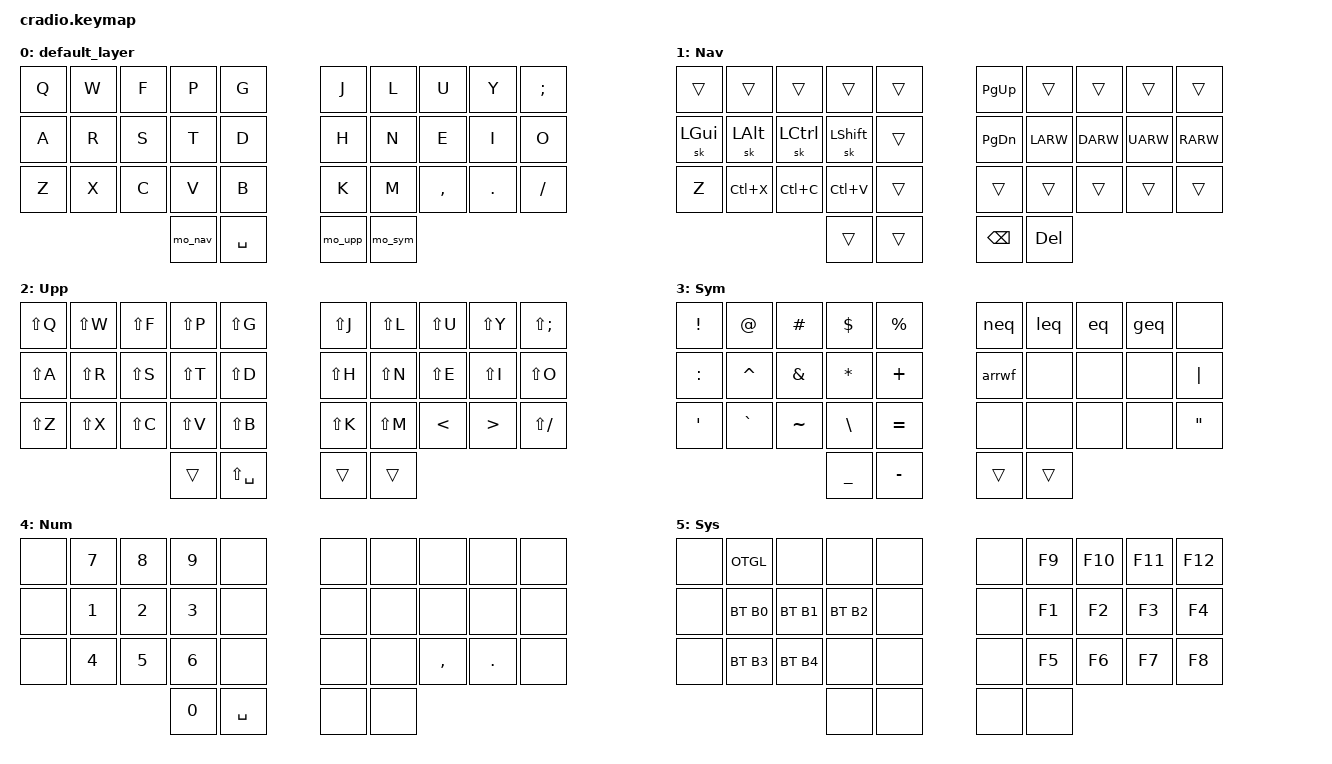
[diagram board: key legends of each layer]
/*
 * Copyright (c) 2020 The ZMK Contributors
 *
 * SPDX-License-Identifier: MIT
 */

#include <behaviors.dtsi>
#include <dt-bindings/zmk/bt.h>
#include <dt-bindings/zmk/ext_power.h>
#include <dt-bindings/zmk/keys.h>
#include <dt-bindings/zmk/outputs.h>

#define DEF_L 0
#define NAV_L 1
#define UPP_L 2
#define SYM_L 3
#define NUM_L 4
#define SYS_L 5

#define B0     BT_SEL 0
#define B1     BT_SEL 1
#define B2     BT_SEL 2
#define B3     BT_SEL 3
#define B4     BT_SEL 4
#define OTGL   out OUT_TOG

&caps_word {
  continue-list = <UNDERSCORE MINUS BACKSPACE>;
};

&sk {
  release-after-ms = <60000>;
};

/ {
    ZMK_MACRO(mo_nav,
        wait-ms = <0>;
        tap-ms = <0>;
        bindings
        = <&macro_tap &kp K_CANCEL>
        , <&macro_press &mo NAV_L>
        , <&macro_pause_for_release>
        , <&macro_release &mo NAV_L>;)

    ZMK_MACRO(mo_upp,
        wait-ms = <0>;
        tap-ms = <0>;
        bindings
        = <&macro_tap &kp K_CANCEL>
        , <&macro_press &mo UPP_L>
        , <&macro_pause_for_release>
        , <&macro_release &mo UPP_L>;)

    ZMK_MACRO(mo_sym,
        wait-ms = <0>;
        tap-ms = <0>;
        bindings
        = <&macro_tap &kp K_CANCEL>
        , <&macro_press &mo SYM_L>
        , <&macro_pause_for_release>
        , <&macro_release &mo SYM_L>;)

    ZMK_MACRO(mo_sys,
        wait-ms = <0>;
        tap-ms = <0>;
        bindings
        = <&macro_tap &kp K_CANCEL>
        , <&macro_press &mo SYS_L>
        , <&macro_pause_for_release>
        , <&macro_release &mo SYS_L>;)

    ZMK_MACRO(leq,
        wait-ms = <30>;
        tap-ms = <40>;
        bindings = <&kp LT &kp EQUAL>;)

    ZMK_MACRO(eq,
        wait-ms = <30>;
        tap-ms = <40>;
        bindings = <&kp EQUAL &kp EQUAL>;)

    ZMK_MACRO(geq,
        wait-ms = <30>;
        tap-ms = <40>;
        bindings = <&kp GT &kp EQUAL>;)

    ZMK_MACRO(neq,
        wait-ms = <30>;
        tap-ms = <40>;
        bindings = <&kp EXCL &kp EQUAL>;)

    ZMK_MACRO(arrwf,
        wait-ms = <30>;
        tap-ms = <40>;
        bindings = <&kp EQUAL &kp GT>;)

    ZMK_MACRO(wclip,
        wait-ms = <30>;
        tap-ms = <40>;
        bindings 
        = <&macro_press &kp LGUI>
        , <&macro_press &kp LSHFT>
        , <&macro_press &kp N4>
        , <&macro_release &kp LGUI &kp LSHFT &kp N4>;)
 
    combos {
        compatible = "zmk,combos";

        #define COMBO(NAME, BINDINGS, KEYPOS, LAYERS) \
          combo_##NAME { \
            bindings = <BINDINGS>; \
            key-positions = <KEYPOS>; \
            layers = <LAYERS>; \
          };
        /*                KEY POSITIONS

          ╭────────────────────╮ ╭────────────────────╮
          │  0   1   2   3 	 4 | |  5   6   7   8	9 │
          │ 10  11  12  13  14 │ │ 15  16  17  18  19 │
          │ 20  21  22  23  24 │ │ 25  26  27  28  29 │
          ╰───────────╮ 30  31 │ │ 32  33 ╭───────────╯
                      ╰────────╯ ╰────────╯            */
        // Letters
        COMBO(lower_q, &kp Q, 1 2, DEF_L)
        COMBO(upper_q, &kp LS(Q), 1 2, UPP_L)

        COMBO(excl, &kp EXCL, 1 2, SYM_L)
        
        COMBO(lower_semi, &kp SEMI, 7 8, DEF_L)
        COMBO(upper_semi, &kp LS(SEMI), 7 8, UPP_L)
        
        COMBO(f_twelve, &kp F12, 7 8, SYS_L)
        
        // Brackets
        COMBO(left_bracket, &kp LBKT, 1 11, DEF_L UPP_L SYM_L NUM_L)
        COMBO(right_bracket, &kp RBKT, 8 18, DEF_L UPP_L SYM_L NUM_L)

        COMBO(left_parenthesis, &kp LPAR, 2 12, DEF_L UPP_L SYM_L NUM_L)
        COMBO(right_parenthesis, &kp RPAR, 7 17, DEF_L UPP_L SYM_L NUM_L)
		
        COMBO(left_brace, &kp LBRC, 3 13, DEF_L UPP_L SYM_L NUM_L)
        COMBO(right_brace, &kp RBRC, 6 16, DEF_L UPP_L SYM_L NUM_L)

        // Convenience
        COMBO(esc, &kp ESC, 2 3, DEF_L)
        COMBO(ent, &kp ENTER, 17 18, DEF_L)
        COMBO(tab, &kp TAB, 13 14, DEF_L)
        COMBO(w_clip, &wclip, 11 12 13, DEF_L)

        COMBO(sys_l, &mo_sys, 30 31, NUM_L)
    };

    conditional_layers {
        compatible = "zmk,conditional-layers";
        tri_layer {
            if-layers = <UPP_L SYM_L>;
            then-layer = <NUM_L>;
        };
    };

    keymap {
        compatible = "zmk,keymap";

        default_layer {
            bindings = <
        // ╭─────────────┬─────────────┬─────────────┬─────────────┬─────────────╮   ╭─────────────┬─────────────┬─────────────┬─────────────┬─────────────╮
             &kp Q         &kp W         &kp F         &kp P         &kp G             &kp J         &kp L         &kp U         &kp Y		   &kp SEMI
             &kp A         &kp R         &kp S         &kp T         &kp D             &kp H         &kp N         &kp E         &kp I         &kp O
             &kp Z         &kp X         &kp C         &kp V         &kp B             &kp K         &kp M         &kp COMMA     &kp DOT       &kp FSLH
        // ╰─────────────┴─────────────┴─────────────╮                                                           ╭─────────────┴─────────────┴─────────────╯
                                                       &mo_nav       &kp SPACE         &mo_upp       &mo_sym
        //                                           ╰─────────────┴─────────────╯   ╰─────────────┴─────────────╯
            >;
        };

        nav_layer {
            label = "Nav";
            bindings = <
        // ╭─────────────┬─────────────┬─────────────┬─────────────┬─────────────╮   ╭─────────────┬─────────────┬─────────────┬─────────────┬─────────────╮
             &trans        &trans        &trans        &trans        &trans            &kp PG_UP     &trans        &trans        &trans		   &trans
             &sk LGUI      &sk LALT      &sk LCTRL     &sk LSHFT     &trans            &kp PG_DN     &kp LARW      &kp DARW      &kp UARW      &kp RARW
             &kp Z         &kp LC(X)     &kp LC(C)     &kp LC(V)     &trans            &trans        &trans        &trans        &trans        &trans
        // ╰─────────────┴─────────────┴─────────────╮                                                           ╭─────────────┴─────────────┴─────────────╯
                                                       &trans        &trans            &kp BSPC      &kp DEL
        //                                           ╰─────────────┴─────────────╯   ╰─────────────┴─────────────╯
            >;
        };

        upper_layer {
            label = "Upp";
            bindings = <
        // ╭─────────────┬─────────────┬─────────────┬─────────────┬─────────────╮   ╭─────────────┬─────────────┬─────────────┬─────────────┬─────────────╮
             &kp LS(Q)     &kp LS(W)     &kp LS(F)     &kp LS(P)     &kp LS(G)         &kp LS(J)     &kp LS(L)     &kp LS(U)     &kp LS(Y)	   &kp LS(SEMI)
             &kp LS(A)     &kp LS(R)     &kp LS(S)     &kp LS(T)     &kp LS(D)         &kp LS(H)     &kp LS(N)     &kp LS(E)     &kp LS(I)     &kp LS(O)
             &kp LS(Z)     &kp LS(X)     &kp LS(C)     &kp LS(V)     &kp LS(B)         &kp LS(K)     &kp LS(M)     &kp LT        &kp GT        &kp LS(FSLH)
        // ╰─────────────┴─────────────┴─────────────╮                                                           ╭─────────────┴─────────────┴─────────────╯
                                                       &trans        &kp LS(SPACE)     &trans        &trans
        //                                           ╰─────────────┴─────────────╯   ╰─────────────┴─────────────╯
            >;
        };

        sym_layer {
            label = "Sym";
            bindings = <
        // ╭─────────────┬─────────────┬─────────────┬─────────────┬─────────────╮   ╭─────────────┬─────────────┬─────────────┬─────────────┬─────────────╮
             &kp EXCL      &kp AT        &kp HASH      &kp DLLR      &kp PRCNT         &neq          &leq          &eq           &geq		   &none
             &kp COLON     &kp CARET     &kp AMPS      &kp STAR      &kp PLUS          &arrwf        &none         &none         &none         &kp PIPE
             &kp SQT       &kp GRAVE     &kp TILDE     &kp BSLH      &kp EQUAL         &none         &none         &none         &none         &kp DQT
        // ╰─────────────┴─────────────┴─────────────╮                                                           ╭─────────────┴─────────────┴─────────────╯
                                                       &kp UNDER     &kp MINUS         &trans        &trans
        //                                           ╰─────────────┴─────────────╯   ╰─────────────┴─────────────╯
            >;
        };
        
        num_layer {
            label = "Num";
            bindings = <
        // ╭─────────────┬─────────────┬─────────────┬─────────────┬─────────────╮   ╭─────────────┬─────────────┬─────────────┬─────────────┬─────────────╮
             &none         &kp N7        &kp N8        &kp N9        &none             &none         &none         &none         &none		   &none
             &none         &kp N1        &kp N2        &kp N3        &none             &none         &none         &none         &none         &none
             &none         &kp N4        &kp N5        &kp N6        &none             &none         &none         &kp COMMA     &kp DOT       &none
        // ╰─────────────┴─────────────┴─────────────╮                                                           ╭─────────────┴─────────────┴─────────────╯
                                                       &kp N0        &kp SPACE         &none         &none
        //                                           ╰─────────────┴─────────────╯   ╰─────────────┴─────────────╯
            >;
        };
        
        sys_layer {
            label = "Sys";
            bindings = <
        // ╭─────────────┬─────────────┬─────────────┬─────────────┬─────────────╮   ╭─────────────┬─────────────┬─────────────┬─────────────┬─────────────╮
             &none         &OTGL         &none         &none         &none             &none         &kp F9        &kp F10       &kp F11	   &kp F12
             &none         &bt B0        &bt B1        &bt B2        &none             &none         &kp F1        &kp F2        &kp F3        &kp F4 
             &none         &bt B3        &bt B4        &none         &none             &none         &kp F5        &kp F6        &kp F7        &kp F8 
        // ╰─────────────┴─────────────┴─────────────╮                                                           ╭─────────────┴─────────────┴─────────────╯
                                                       &none         &none             &none         &none
        //                                           ╰─────────────┴─────────────╯   ╰─────────────┴─────────────╯
            >;
        };
    };
};

/*
        _layer {
            label = "";
            bindings = <
        // ╭─────────────┬─────────────┬─────────────┬─────────────┬─────────────╮   ╭─────────────┬─────────────┬─────────────┬─────────────┬─────────────╮
             &none         &none         &none         &none         &none             &none         &kp F9        &kp F10       &kp F11	   &none
             &none         &none         &none         &none         &none             &none         &kp F1        &kp F2        &kp F3        &kp F4 
             &none         &none         &none         &none         &none             &none         &kp F5        &kp F6        &kp F7        &kp F8 
        // ╰─────────────┴─────────────┴─────────────╮                                                           ╭─────────────┴─────────────┴─────────────╯
                                                       &none         &none             &none         &none
        //                                           ╰─────────────┴─────────────╯   ╰─────────────┴─────────────╯
            >;
        };
*/
